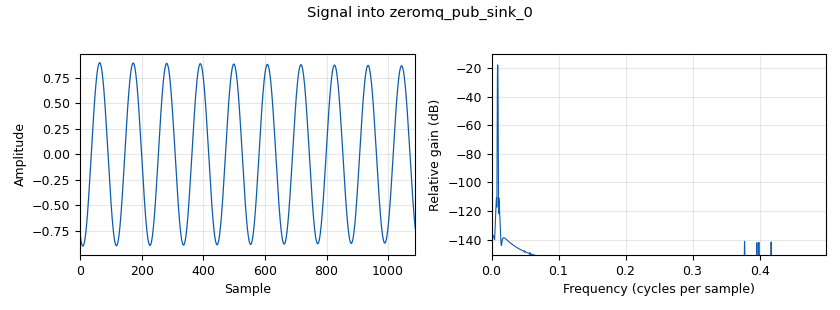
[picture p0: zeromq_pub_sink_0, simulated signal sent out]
options:
  parameters:
    author: Martin Hübner
    description: Demonstrate sending a generated signal from inside a selfcontained flowgraph inside a docker container.
    generate_options: no_gui
    id: demo_send_binaural_beat
    output_language: python
    run_options: run
    title: Demo send binaural beat
  states: {}

blocks:
- name: freq
  id: variable
  parameters:
    value: '440'
  states: {}
- name: samp_rate
  id: variable
  parameters:
    value: '48000'
  states: {}
- name: analog_sig_source_x_0
  id: analog_sig_source_x
  parameters:
    amp: '0.5'
    freq: freq
    offset: '0'
    phase: '0'
    samp_rate: samp_rate
    type: float
    waveform: analog.GR_COS_WAVE
  states: {}
- name: analog_sig_source_x_1
  id: analog_sig_source_x
  parameters:
    amp: '0.5'
    freq: freq + 1
    offset: '0'
    phase: '0'
    samp_rate: samp_rate
    type: float
    waveform: analog.GR_COS_WAVE
  states: {}
- name: blocks_add_xx_0
  id: blocks_add_xx
  parameters:
    type: float
  states: {}
- name: blocks_throttle2_0
  id: blocks_throttle2
  parameters:
    samples_per_second: samp_rate
    type: float
  states: {}
- name: zeromq_pub_sink_0
  id: zeromq_pub_sink
  parameters:
    address: tcp://127.0.0.1:59599
    timeout: '100'
    type: float
  states: {}

connections:
- [analog_sig_source_x_0, '0', blocks_add_xx_0, '0']
- [analog_sig_source_x_1, '0', blocks_add_xx_0, '1']
- [blocks_add_xx_0, '0', blocks_throttle2_0, '0']
- [blocks_throttle2_0, '0', zeromq_pub_sink_0, '0']

metadata:
  file_format: 1
  grc_version: 3.10.9.2
